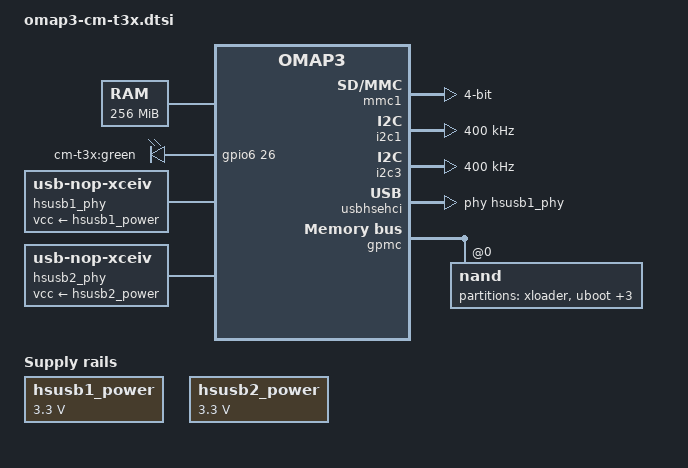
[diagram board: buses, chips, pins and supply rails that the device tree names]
/*
 * Common support for CompuLab CM-T3x CoMs
 */

/ {

	memory {
		device_type = "memory";
		reg = <0x80000000 0x10000000>; /* 256 MB */
	};

	leds {
		compatible = "gpio-leds";
		pinctrl-names = "default";
		pinctrl-0 = <&green_led_pins>;
		ledb {
			label = "cm-t3x:green";
			gpios = <&gpio6 26 GPIO_ACTIVE_HIGH>;  /* gpio186 */
			linux,default-trigger = "heartbeat";
		};
	};

	/* HS USB Port 1 Power */
	hsusb1_power: hsusb1_power_reg {
		compatible = "regulator-fixed";
		regulator-name = "hsusb1_vbus";
		regulator-min-microvolt = <3300000>;
		regulator-max-microvolt = <3300000>;
		startup-delay-us = <70000>;
	};

	/* HS USB Port 2 Power */
	hsusb2_power: hsusb2_power_reg {
		compatible = "regulator-fixed";
		regulator-name = "hsusb2_vbus";
		regulator-min-microvolt = <3300000>;
		regulator-max-microvolt = <3300000>;
		startup-delay-us = <70000>;
	};

	/* HS USB Host PHY on PORT 1 */
	hsusb1_phy: hsusb1_phy {
		compatible = "usb-nop-xceiv";
		vcc-supply = <&hsusb1_power>;
	};

	/* HS USB Host PHY on PORT 2 */
	hsusb2_phy: hsusb2_phy {
		compatible = "usb-nop-xceiv";
		vcc-supply = <&hsusb2_power>;
	};
};

&omap3_pmx_core {

	uart3_pins: pinmux_uart3_pins {
		pinctrl-single,pins = <
			OMAP3_CORE1_IOPAD(0x219e, PIN_INPUT  | MUX_MODE0)	/* uart3_rx_irrx.uart3_rx_irrx */
			OMAP3_CORE1_IOPAD(0x21a0, PIN_OUTPUT | MUX_MODE0)	/* uart3_tx_irtx.uart3_tx_irtx */
		>;
	};

	mmc1_pins: pinmux_mmc1_pins {
		pinctrl-single,pins = <
			OMAP3_CORE1_IOPAD(0x2144, PIN_INPUT_PULLUP | MUX_MODE0)	/* sdmmc1_clk.sdmmc1_clk */
			OMAP3_CORE1_IOPAD(0x2146, PIN_INPUT_PULLUP | MUX_MODE0)	/* sdmmc1_cmd.sdmmc1_cmd */
			OMAP3_CORE1_IOPAD(0x2148, PIN_INPUT_PULLUP | MUX_MODE0)	/* sdmmc1_dat0.sdmmc1_dat0 */
			OMAP3_CORE1_IOPAD(0x214a, PIN_INPUT_PULLUP | MUX_MODE0)	/* sdmmc1_dat1.sdmmc1_dat1 */
			OMAP3_CORE1_IOPAD(0x214c, PIN_INPUT_PULLUP | MUX_MODE0)	/* sdmmc1_dat2.sdmmc1_dat2 */
			OMAP3_CORE1_IOPAD(0x214e, PIN_INPUT_PULLUP | MUX_MODE0)	/* sdmmc1_dat3.sdmmc1_dat3 */
		>;
	};

	green_led_pins: pinmux_green_led_pins {
		pinctrl-single,pins = <
			OMAP3_CORE1_IOPAD(0x21e2, PIN_OUTPUT | MUX_MODE4)	/* sys_clkout2.gpio_186 */
		>;
	};
};

&uart3 {
	pinctrl-names = "default";
	pinctrl-0 = <&uart3_pins>;
};

&mmc1 {
	pinctrl-names = "default";
	pinctrl-0 = <&mmc1_pins>;
	bus-width = <4>;
};

&mmc3 {
	status = "disabled";
};

&i2c1 {
	clock-frequency = <400000>;
};

&i2c3 {
	clock-frequency = <400000>;
};
&usbhshost {
	port1-mode = "ehci-phy";
	port2-mode = "ehci-phy";
};

&usbhsehci {
	phys = <&hsusb1_phy &hsusb2_phy>;
};

&gpmc {
	ranges = <0 0 0x00000000 0x01000000>;

	nand@0,0 {
		reg = <0 0 4>;	/* CS0, offset 0, IO size 4 */
		nand-bus-width = <8>;
		gpmc,device-width = <1>;
		ti,nand-ecc-opt = "sw";

		gpmc,cs-on-ns = <0>;
		gpmc,cs-rd-off-ns = <120>;
		gpmc,cs-wr-off-ns = <120>;

		gpmc,adv-on-ns = <0>;
		gpmc,adv-rd-off-ns = <120>;
		gpmc,adv-wr-off-ns = <120>;

		gpmc,we-on-ns = <6>;
		gpmc,we-off-ns = <90>;

		gpmc,oe-on-ns = <6>;
		gpmc,oe-off-ns = <90>;

		gpmc,page-burst-access-ns = <6>;
		gpmc,access-ns = <72>;
		gpmc,cycle2cycle-delay-ns = <60>;

		gpmc,rd-cycle-ns = <120>;
		gpmc,wr-cycle-ns = <120>;
		gpmc,wr-access-ns = <186>;
		gpmc,wr-data-mux-bus-ns = <90>;

		#address-cells = <1>;
		#size-cells = <1>;

		partition@0 {
			label = "xloader";
			reg = <0 0x80000>;
		};
		partition@0x80000 {
			label = "uboot";
			reg = <0x80000 0x1e0000>;
		};
		partition@0x260000 {
			label = "uboot environment";
			reg = <0x260000 0x40000>;
		};
		partition@0x2a0000 {
			label = "linux";
			reg = <0x2a0000 0x400000>;
		};
		partition@0x6a0000 {
			label = "rootfs";
			reg = <0x6a0000 0x1f880000>;
		};
	};
};
